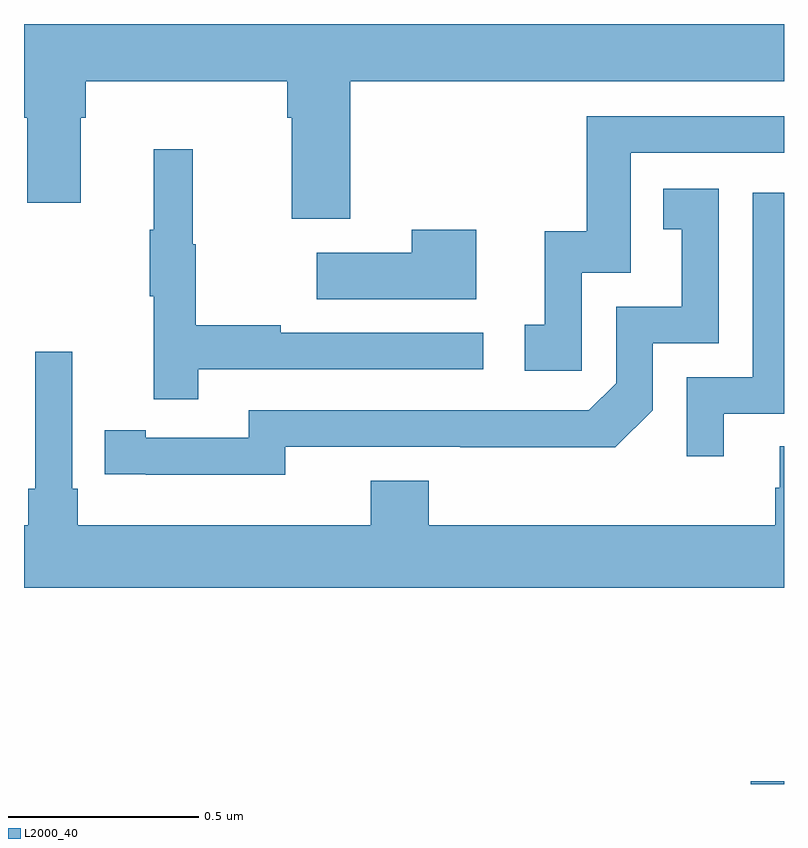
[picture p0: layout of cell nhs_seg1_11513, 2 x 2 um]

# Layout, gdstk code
import gdstk
lib = gdstk.Library(unit=1e-6, precision=1e-09)
def R(c, l, rs):  # rectangles x0, y0, x1, y1
    for r in rs: c.add(gdstk.rectangle(r[:2], r[2:], *l))
def P(c, l, *ps):  # polygons
    for p in ps: c.add(gdstk.Polygon(p, *l))
L2000_40 = (2000, 40)

nhs_seg1_11513 = lib.new_cell('nhs_seg1_11513')
R(nhs_seg1_11513, L2000_40, [(255.912,567.199,256,567.206)])
P(nhs_seg1_11513, L2000_40, [(254.858,569.048),(256,569.048),(256,569.199),(254,569.199),(254,568.952),(254.009,568.952),(254.009,568.728),(254.149,568.728),(254.149,568.952),(254.162,568.952),(254.162,569.048),(254.693,569.048),(254.693,568.952),(254.705,568.952),(254.705,568.686),(254.858,568.686)],
  [(255.468,568.545),(255.597,568.545),(255.597,568.86),(256,568.86),(256,568.956),(255.481,568.956),(255.481,568.654),(255.371,568.654),(255.371,568.407),(255.318,568.407),(255.318,568.287),(255.468,568.287)],
  [(254.459,568.29),(255.208,568.29),(255.208,568.386),(254.675,568.386),(254.675,568.406),(254.452,568.406),(254.452,568.62),(254.444,568.62),(254.444,568.87),(254.342,568.87),(254.342,568.657),(254.331,568.657),(254.331,568.483),(254.342,568.483),(254.342,568.212),(254.459,568.212)],
  [(254.688,568.086),(255.148,568.086),(255.148,568.085),(255.556,568.085),(255.654,568.182),(255.654,568.359),(255.828,568.359),(255.828,568.765),(255.682,568.765),(255.682,568.659),(255.731,568.659),(255.731,568.455),(255.558,568.455),(255.558,568.254),(255.486,568.182),(254.592,568.182),(254.592,568.11),(254.32,568.11),(254.32,568.13),(254.212,568.13),(254.212,568.014),(254.32,568.014),(254.32,568.013),(254.688,568.013)],
  [(255.841,568.173),(256,568.173),(256,568.755),(255.918,568.755),(255.918,568.269),(255.744,568.269),(255.744,568.062),(255.841,568.062)],
  [(255.19,568.657),(255.02,568.657),(255.02,568.597),(254.771,568.597),(254.771,568.475),(255.19,568.475)],
  [(256,568.088),(255.989,568.088),(255.989,567.978),(255.977,567.978),(255.977,567.88),(255.065,567.88),(255.065,567.997),(254.912,567.997),(254.912,567.88),(254.141,567.88),(254.141,567.976),(254.127,567.976),(254.127,568.336),(254.03,568.336),(254.03,567.976),(254.011,567.976),(254.011,567.88),(254,567.88),(254,567.716),(256,567.716)])

lib.write_gds('nhs_seg1_11513.gds')
